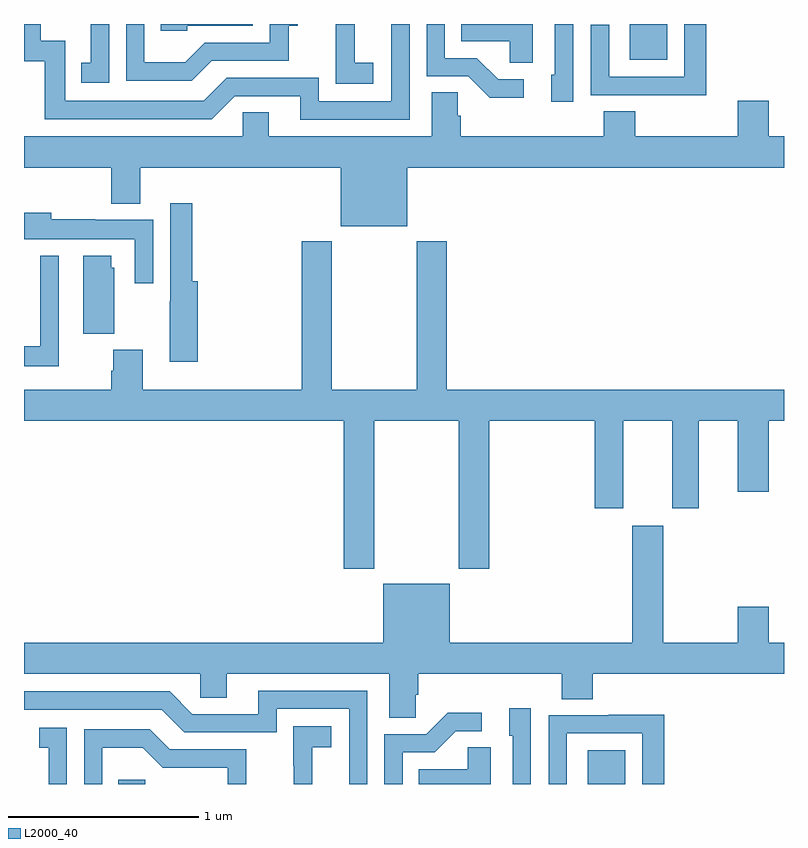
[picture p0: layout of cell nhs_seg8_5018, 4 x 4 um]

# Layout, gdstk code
import gdstk
lib = gdstk.Library(unit=1e-6, precision=1e-09)
def R(c, l, rs):  # rectangles x0, y0, x1, y1
    for r in rs: c.add(gdstk.rectangle(r[:2], r[2:], *l))
def P(c, l, *ps):  # polygons
    for p in ps: c.add(gdstk.Polygon(p, *l))
L2000_40 = (2000, 40)

nhs_seg8_5018 = lib.new_cell('nhs_seg8_5018')
R(nhs_seg8_5018, L2000_40, [(413.497,1135.9,413.637,1135.923), (415.967,1135.9,416.164,1136.077), (416.189,1139.711,416.386,1139.9)])
P(nhs_seg8_5018, L2000_40, [(413.448,1139.9),(413.351,1139.9),(413.351,1139.697),(413.302,1139.697),(413.302,1139.592),(413.448,1139.592)],
  [(415.678,1139.9),(415.3,1139.9),(415.3,1139.81),(415.557,1139.81),(415.557,1139.695),(415.678,1139.695)],
  [(413.859,1139.892),(414.204,1139.892),(414.204,1139.9),(413.719,1139.9),(413.719,1139.865),(413.859,1139.865)],
  [(414.838,1139.695),(414.74,1139.695),(414.74,1139.9),(414.641,1139.9),(414.641,1139.791),(414.64,1139.791),(414.64,1139.585),(414.838,1139.585)],
  [(415.029,1139.9),(414.933,1139.9),(414.933,1139.493),(414.552,1139.493),(414.552,1139.616),(414.066,1139.616),(413.946,1139.496),(413.217,1139.496),(413.217,1139.811),(413.088,1139.811),(413.088,1139.9),(413,1139.9),(413,1139.703),(413.109,1139.703),(413.109,1139.4),(413.988,1139.4),(414.108,1139.52),(414.455,1139.52),(414.455,1139.397),(415.029,1139.397)],
  [(415.89,1139.9),(415.794,1139.9),(415.794,1139.634),(415.775,1139.634),(415.775,1139.49),(415.89,1139.49)],
  [(413.989,1139.706),(414.393,1139.706),(414.393,1139.891),(414.442,1139.891),(414.442,1139.9),(414.294,1139.9),(414.294,1139.802),(413.952,1139.802),(413.848,1139.698),(413.634,1139.698),(413.634,1139.9),(413.538,1139.9),(413.538,1139.601),(413.884,1139.601)],
  [(416.591,1139.9),(416.475,1139.9),(416.475,1139.622),(416.079,1139.622),(416.079,1139.896),(415.983,1139.896),(415.983,1139.526),(416.299,1139.526),(416.299,1139.525),(416.591,1139.525)],
  [(415.63,1139.61),(415.495,1139.61),(415.384,1139.721),(415.215,1139.721),(415.215,1139.9),(415.119,1139.9),(415.119,1139.625),(415.338,1139.625),(415.451,1139.513),(415.63,1139.513)],
  [(415.018,1139.144),(417,1139.144),(417,1139.308),(416.92,1139.308),(416.92,1139.497),(416.756,1139.497),(416.756,1139.308),(416.216,1139.308),(416.216,1139.441),(416.051,1139.441),(416.051,1139.308),(415.298,1139.308),(415.298,1139.417),(415.284,1139.417),(415.284,1139.54),(415.145,1139.54),(415.145,1139.308),(414.289,1139.308),(414.289,1139.435),(414.15,1139.435),(414.15,1139.308),(413,1139.308),(413,1139.144),(413.459,1139.144),(413.459,1138.955),(413.611,1138.955),(413.611,1139.144),(414.668,1139.144),(414.668,1138.835),(415.018,1138.835)],
  [(413.915,1138.546),(413.885,1138.546),(413.885,1138.957),(413.769,1138.957),(413.769,1138.442),(413.768,1138.442),(413.768,1138.122),(413.915,1138.122)],
  [(413.679,1138.87),(413.375,1138.87),(413.375,1138.873),(413.144,1138.873),(413.144,1138.906),(413,1138.906),(413,1138.766),(413.583,1138.766),(413.583,1138.536),(413.679,1138.536)],
  [(414.843,1137.812),(415.288,1137.812),(415.288,1137.033),(415.448,1137.033),(415.448,1137.812),(416.003,1137.812),(416.003,1137.351),(416.155,1137.351),(416.155,1137.812),(416.411,1137.812),(416.411,1137.351),(416.551,1137.351),(416.551,1137.812),(416.756,1137.812),(416.756,1137.438),(416.92,1137.438),(416.92,1137.812),(417,1137.812),(417,1137.976),(415.226,1137.976),(415.226,1138.756),(415.066,1138.756),(415.066,1137.976),(414.621,1137.976),(414.621,1138.756),(414.461,1138.756),(414.461,1137.976),(413.624,1137.976),(413.624,1138.185),(413.471,1138.185),(413.471,1138.076),(413.459,1138.076),(413.459,1137.976),(413,1137.976),(413,1137.812),(414.683,1137.812),(414.683,1137.033),(414.843,1137.033)],
  [(413.476,1138.617),(413.458,1138.617),(413.458,1138.681),(413.312,1138.681),(413.312,1138.27),(413.476,1138.27)],
  [(413.182,1138.681),(413.085,1138.681),(413.085,1138.204),(413,1138.204),(413,1138.1),(413.182,1138.1)],
  [(415.062,1136.371),(415.076,1136.371),(415.076,1136.48),(415.829,1136.48),(415.829,1136.347),(415.994,1136.347),(415.994,1136.48),(417,1136.48),(417,1136.644),(416.92,1136.644),(416.92,1136.833),(416.756,1136.833),(416.756,1136.644),(416.365,1136.644),(416.365,1137.259),(416.201,1137.259),(416.201,1136.644),(415.24,1136.644),(415.24,1136.953),(414.89,1136.953),(414.89,1136.644),(413,1136.644),(413,1136.48),(413.928,1136.48),(413.928,1136.353),(414.067,1136.353),(414.067,1136.48),(414.923,1136.48),(414.923,1136.248),(415.062,1136.248)],
  [(414.807,1136.391),(414.233,1136.391),(414.233,1136.268),(413.886,1136.268),(413.766,1136.388),(413,1136.388),(413,1136.292),(413.724,1136.292),(413.844,1136.172),(414.33,1136.172),(414.33,1136.295),(414.711,1136.295),(414.711,1135.9),(414.807,1135.9)],
  [(415.668,1136.299),(415.553,1136.299),(415.553,1136.154),(415.572,1136.154),(415.572,1135.9),(415.668,1135.9)],
  [(414.993,1136.067),(415.162,1136.067),(415.273,1136.178),(415.408,1136.178),(415.408,1136.276),(415.229,1136.276),(415.116,1136.163),(414.897,1136.163),(414.897,1135.9),(414.993,1135.9)],
  [(415.857,1136.166),(416.253,1136.166),(416.253,1135.9),(416.369,1135.9),(416.369,1136.264),(416.077,1136.264),(416.077,1136.262),(415.761,1136.262),(415.761,1135.9),(415.857,1135.9)],
  [(414.518,1136.093),(414.616,1136.093),(414.616,1136.203),(414.418,1136.203),(414.418,1135.997),(414.419,1135.997),(414.419,1135.9),(414.518,1135.9)],
  [(413.226,1136.197),(413.08,1136.197),(413.08,1136.091),(413.129,1136.091),(413.129,1135.9),(413.226,1135.9)],
  [(413.412,1136.09),(413.626,1136.09),(413.73,1135.986),(414.072,1135.986),(414.072,1135.9),(414.171,1135.9),(414.171,1136.082),(413.767,1136.082),(413.662,1136.187),(413.316,1136.187),(413.316,1135.9),(413.412,1135.9)],
  [(415.456,1136.093),(415.335,1136.093),(415.335,1135.978),(415.078,1135.978),(415.078,1135.9),(415.456,1135.9)])

lib.write_gds('nhs_seg8_5018.gds')
